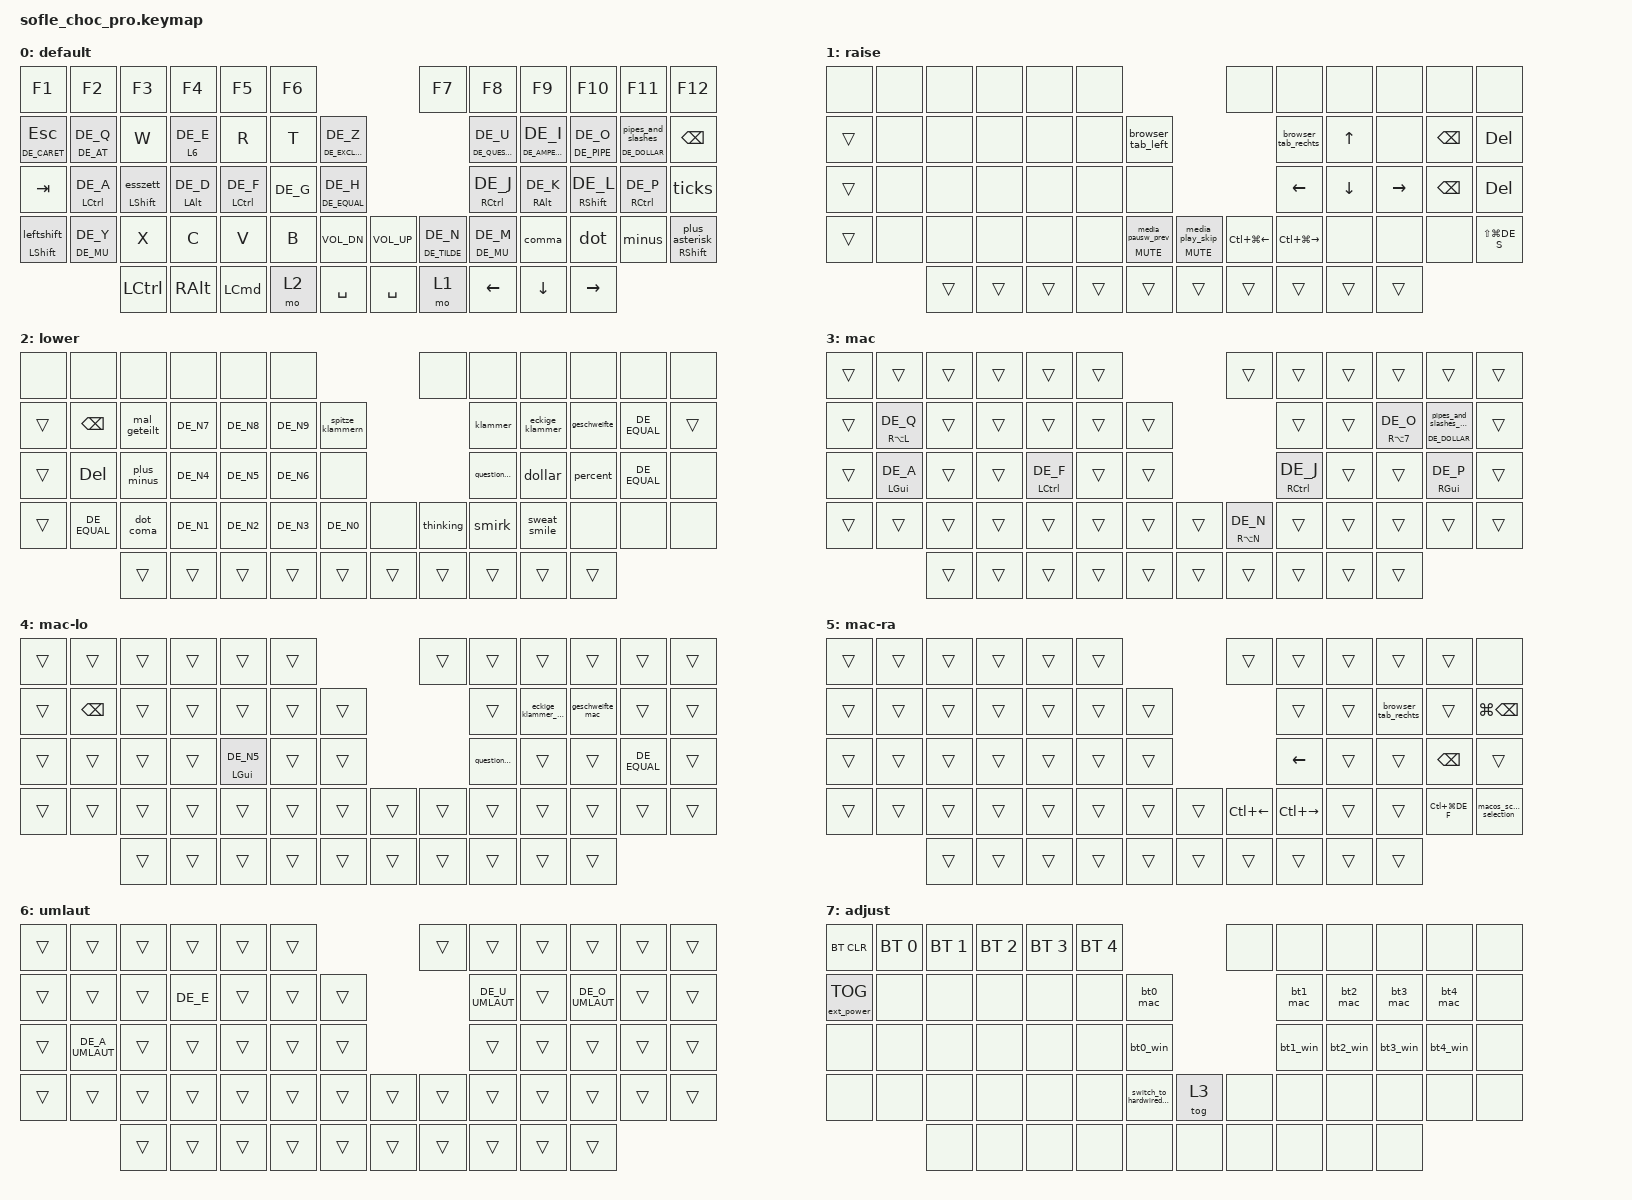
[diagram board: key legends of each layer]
/*
* Copyright (c) 2020 The ZMK Contributors
*
* SPDX-License-Identifier: MIT
*/

#include "keys_de.h"
#include <behaviors.dtsi>
#include <dt-bindings/zmk/bt.h>
#include <dt-bindings/zmk/ext_power.h>
#include <dt-bindings/zmk/keys.h>
#include <dt-bindings/zmk/outputs.h>

#define BASE 0
#define LOWER 1
#define RAISE 2
#define ADJUST 3
#define MAC 4
#define MAC_LOWER 5
#define MAC_RAISE 6

/ {
    // Activate ADJUST layer by pressing raise and lower

    conditional_layers {
        compatible = "zmk,conditional-layers";

        adjust_layer {
            if-layers = <2 1>;
            then-layer = <7>;
        };

        mac_lower_layer {
            if-layers = <3 2>;
            then-layer = <4>;
        };

        mac_raise_layer {
            if-layers = <3 1>;
            then-layer = <5>;
        };
    };

    combos {
        compatible = "zmk,combos";

        double_thumb_enter {
            bindings = <&kp ENTER>;
            key-positions = <54 55>;
            timeout-ms = <300>;
        };

        bottom_right_enter {
            bindings = <&kp ESCAPE>;
            key-positions = <49 48>;
            timeout-ms = <300>;
        };

        left_enter {
            bindings = <&kp ENTER>;
            key-positions = <54 53>;
            timeout-ms = <300>;
        };

        up {
            bindings = <&kp UP>;
            key-positions = <58 57>;
        };

        arrow_enter {
            bindings = <&kp ENTER>;
            key-positions = <58 57 59>;
            require-prior-idle-ms = <300>;
        };

        up3 {
            bindings = <&kp UP>;
            key-positions = <58 59>;
        };

        alt_f4 {
            bindings = <&kp LA(F4)>;
            key-positions = <18 19 20>;
            layers = <0>;
        };

        command_q {
            bindings = <&kp LG(DE_Q)>;
            key-positions = <18 19 20>;
            layers = <3>;
        };

        alt_f4_2 {
            bindings = <&kp LA(F4)>;
            key-positions = <17 16 15>;
            layers = <0>;
        };

        command_q_2 {
            bindings = <&kp LG(DE_Q)>;
            key-positions = <17 16 15>;
            layers = <3>;
        };

        shift_index_fingers {
            bindings = <&sk LEFT_SHIFT>;
            key-positions = <28 31>;
            layers = <0 3>;
        };

        gentle_smile {
            bindings = <&gentle_smile>;
            key-positions = <12 13>;
        };
    };

    behaviors {
        hold_tap: hold_tap {
            compatible = "zmk,behavior-hold-tap";
            label = "HOLD_TAP";
            bindings = <&kp>, <&kp>;

            #binding-cells = <2>;
            tapping-term-ms = <250>;
            flavor = "balanced";
            quick-tap-ms = <150>;
        };

        comma: comma {
            compatible = "zmk,behavior-tap-dance";
            label = "COMMA";
            #binding-cells = <0>;
            bindings = <&kp DE_COMMA>, <&kp DE_SEMI>;

            tapping-term-ms = <300>;
        };

        dot: dot {
            compatible = "zmk,behavior-tap-dance";
            label = "DOT";
            #binding-cells = <0>;
            bindings = <&kp DE_DOT>, <&kp DE_COLON>, <&tripple_dot>;

            tapping-term-ms = <300>;
        };

        minus: minus {
            compatible = "zmk,behavior-tap-dance";
            label = "MINUS";
            #binding-cells = <0>;
            bindings = <&kp DE_MINUS>, <&kp DE_UNDERSCORE>;

            tapping-term-ms = <300>;
        };

        ticks: ticks {
            compatible = "zmk,behavior-tap-dance";
            label = "TICKS";
            #binding-cells = <0>;
            bindings =
                <&kp DE_APOSTROPHE>,
                <&kp DE_DOUBLE_QUOTES>,
                <&kp DE_GRAVE>;

            tapping-term-ms = <300>;
        };

        esszett: esszett {
            compatible = "zmk,behavior-tap-dance";
            label = "ESSZETT";
            #binding-cells = <0>;
            bindings = <&kp DE_S>, <&doppel_s>, <&kp DE_SZ>;

            tapping-term-ms = <300>;
        };

        mal_geteilt: mal_geteilt {
            compatible = "zmk,behavior-tap-dance";
            label = "MAL_GETEILT";
            #binding-cells = <0>;
            bindings = <&kp DE_ASTERISK>, <&kp DE_SLASH>;
        };

        hold_and_esszett: hold_and_esszett {
            compatible = "zmk,behavior-hold-tap";
            label = "HOLD_AND_ESSZETT";
            bindings = <&kp>, <&esszett>;

            #binding-cells = <2>;
            tapping-term-ms = <200>;
            require-prior-idle-ms = <200>;
            flavor = "balanced";
            quick-tap-ms = <150>;
        };

        pipes_and_slashes: pipes_and_slashes {
            compatible = "zmk,behavior-tap-dance";
            label = "PIPES_AND_SLASHES";
            #binding-cells = <0>;
            bindings = <&kp DE_SLASH>, <&kp DE_BACKSLASH>, <&kp DE_PIPE>;

            tapping-term-ms = <300>;
        };

        hold_and_pipes_and_slashes: hold_and_pipes_and_slashes {
            compatible = "zmk,behavior-hold-tap";
            label = "HOLD_AND_PIPES_AND_SLASHES";
            bindings = <&kp>, <&pipes_and_slashes>;

            #binding-cells = <2>;
            tapping-term-ms = <200>;
            require-prior-idle-ms = <200>;
            flavor = "balanced";
            quick-tap-ms = <150>;
        };

        pipes_and_slashes_mac: pipes_and_slashes_mac {
            compatible = "zmk,behavior-tap-dance";
            label = "PIPES_AND_SLASHES_MAC";
            #binding-cells = <0>;

            // 1x = /   2x = \ (macOS: Opt+Shift+7)   3x = | (macOS: Opt+7)

            bindings = <&kp DE_SLASH>, <&kp LS(LA(N7))>, <&kp LA(N7)>;

            tapping-term-ms = <300>;
        };

        hold_and_pipes_and_slashes_mac: hold_and_pipes_and_slashes_mac {
            compatible = "zmk,behavior-hold-tap";
            label = "HOLD_AND_PIPES_AND_SLASHES_MAC";
            bindings = <&kp>, <&pipes_and_slashes_mac>;

            #binding-cells = <2>;
            tapping-term-ms = <200>;
            require-prior-idle-ms = <200>;
            flavor = "balanced";
            quick-tap-ms = <150>;
        };

        geschweifte_mac: geschweifte_mac {
            compatible = "zmk,behavior-tap-dance";
            label = "GESCHWEIFTE_MAC";
            #binding-cells = <0>;

            // { = Opt+8   } = Opt+9

            bindings = <&kp LA(N8)>, <&kp LA(N9)>;

            tapping-term-ms = <300>;
        };

        eckige_klammer_mac: eckige_klammer_mac {
            compatible = "zmk,behavior-tap-dance";
            label = "ECKIGE_KLAMMER_MAC";
            #binding-cells = <0>;

            // [ = Opt+5   ] = Opt+6

            bindings = <&kp LA(N5)>, <&kp LA(N6)>;

            tapping-term-ms = <300>;
        };

        plus_minus: plus_minus {
            compatible = "zmk,behavior-tap-dance";
            label = "PLUS_MINUS";
            #binding-cells = <0>;
            bindings = <&kp DE_PLUS>, <&kp DE_MINUS>;

            tapping-term-ms = <300>;
        };

        plus_asterisk: plus_asterisk {
            compatible = "zmk,behavior-tap-dance";
            label = "PLUS_ASTERISK";
            #binding-cells = <0>;
            bindings = <&kp DE_PLUS>, <&kp DE_ASTERISK>, <&kp DE_HASH>;

            tapping-term-ms = <300>;
        };

        questionmark: questionmark {
            compatible = "zmk,behavior-tap-dance";
            label = "QUESTIONMARK";
            #binding-cells = <0>;
            bindings = <&kp DE_QUESTION>, <&kp DE_EXCLAMATION>;

            tapping-term-ms = <300>;
        };

        dollar: dollar {
            compatible = "zmk,behavior-tap-dance";
            label = "DOLLAR";
            #binding-cells = <0>;
            bindings = <&kp DE_DOLLAR>, <&kp DE_EURO>, <&kp DE_SECTION>;

            tapping-term-ms = <300>;
        };

        percent: percent {
            compatible = "zmk,behavior-tap-dance";
            label = "PERCENT";
            #binding-cells = <0>;
            bindings = <&kp DE_PERCENT>, <&kp DE_AMPERSAND>;

            tapping-term-ms = <300>;
        };

        klammer: klammer {
            compatible = "zmk,behavior-tap-dance";
            label = "KLAMMER";
            #binding-cells = <0>;
            bindings = <&kp DE_LEFT_PARENTHESIS>, <&kp DE_RIGHT_PARENTHESIS>;

            tapping-term-ms = <300>;
        };

        eckige_klammer: eckige_klammer {
            compatible = "zmk,behavior-tap-dance";
            label = "ECKIGE_KLAMMER";
            #binding-cells = <0>;
            bindings = <&kp DE_LEFT_BRACKET>, <&kp DE_RIGHT_BRACKET>;

            tapping-term-ms = <300>;
        };

        geschweifte: geschweifte {
            compatible = "zmk,behavior-tap-dance";
            label = "GESCHWEIFTE";
            #binding-cells = <0>;
            bindings = <&kp DE_LEFT_BRACE>, <&kp DE_RIGHT_BRACE>;

            tapping-term-ms = <300>;
        };

        spitze_klammern: spitze_klammern {
            compatible = "zmk,behavior-tap-dance";
            label = "SPITZE_KLAMMERN";
            #binding-cells = <0>;
            bindings = <&kp DE_LESS_THAN>, <&kp DE_GREATER_THAN>;

            tapping-term-ms = <300>;
        };

        dot_coma: dot_coma {
            compatible = "zmk,behavior-tap-dance";
            label = "DOT_COMA";
            #binding-cells = <0>;
            bindings = <&kp DE_COMMA>, <&kp DE_DOT>;

            tapping-term-ms = <300>;
        };

        caps_words_manual: caps_words_manual {
            compatible = "zmk,behavior-caps-word";
            label = "CAPS_WORDS_MANUAL";
            #binding-cells = <0>;
            continue-list = <DE_MINUS DE_UNDERSCORE UNDERSCORE BACKSPACE DELETE MINUS UNDER>;
        };

        leftshift: leftshift {
            compatible = "zmk,behavior-tap-dance";
            label = "LEFTSHIFT";
            #binding-cells = <0>;
            bindings = <&sk LEFT_SHIFT>, <&caps_words_manual>;

            tapping-term-ms = <300>;
        };

        hold_and_left_shift: hold_and_left_shift {
            compatible = "zmk,behavior-hold-tap";
            label = "HOLD_AND_LEFT_SHIFT";
            bindings = <&kp>, <&leftshift>;

            #binding-cells = <2>;
            tapping-term-ms = <200>;
            require-prior-idle-ms = <250>;
            flavor = "balanced";
            quick-tap-ms = <150>;
        };

        media_play_skip: media_play_skip {
            compatible = "zmk,behavior-tap-dance";
            label = "MEDIA_PLAY_SKIP";
            #binding-cells = <0>;
            bindings = <&kp C_PLAY_PAUSE>, <&kp C_NEXT>;

            tapping-term-ms = <300>;
        };

        media_pausw_prev: media_pausw_prev {
            compatible = "zmk,behavior-tap-dance";
            label = "MEDIA_PAUSW_PREV";
            #binding-cells = <0>;
            bindings = <&kp C_PLAY_PAUSE>, <&kp C_PREV>;

            tapping-term-ms = <300>;
        };

        macos_screen_selection: macos_screen_selection {
            compatible = "zmk,behavior-tap-dance";
            label = "MACOS_SCREEN_SELECTION";
            #binding-cells = <0>;
            bindings =
                <&kp LG(LS(DE_N4))>,
                <&kp LG(LS(LC(DE_N4)))>,
                <&kp LS(LG(DE_N5))>;

            tapping-term-ms = <300>;
        };

        hold_plus_asterisk: hold_plus_asterisk {
            compatible = "zmk,behavior-hold-tap";
            label = "HOLD_PLUS_ASTERISK";
            bindings = <&kp>, <&plus_asterisk>;

            #binding-cells = <2>;
            tapping-term-ms = <200>;
            require-prior-idle-ms = <250>;
            flavor = "balanced";
            quick-tap-ms = <150>;
        };

        browser_tab_left: browser_tab_left {
            compatible = "zmk,behavior-tap-dance";
            label = "BROWSER_TAB_LEFT";
            #binding-cells = <0>;
            bindings = <&kp LC(LS(TAB))>, <&kp LS(LC(LEFT))>;

            tapping-term-ms = <300>;
        };

        browser_tab_rechts: browser_tab_rechts {
            compatible = "zmk,behavior-tap-dance";
            label = "BROWSER_TAB_RECHTS";
            #binding-cells = <0>;
            bindings = <&kp LC(TAB)>, <&kp LS(LC(RIGHT))>;

            tapping-term-ms = <300>;
        };

        hold_and_media_rechts: hold_and_media_rechts {
            compatible = "zmk,behavior-hold-tap";
            label = "HOLD_AND_MEDIA_RECHTS";
            bindings = <&kp>, <&media_play_skip>;

            #binding-cells = <2>;
            tapping-term-ms = <300>;
        };

        hold_and_media_links: hold_and_media_links {
            compatible = "zmk,behavior-hold-tap";
            label = "HOLD_AND_MEDIA_LINKS";
            bindings = <&kp>, <&media_pausw_prev>;

            #binding-cells = <2>;
            tapping-term-ms = <300>;
        };

        hold_tap_e: hold_tap_e {
            compatible = "zmk,behavior-hold-tap";
            label = "HOLD_TAP_E";
            bindings = <&mo>, <&kp>;

            #binding-cells = <2>;
            tapping-term-ms = <200>;
            flavor = "balanced";
            quick-tap-ms = <150>;
            require-prior-idle-ms = <150>;
        };
    };

    macros {
        doppel_s: doppel_s {
            compatible = "zmk,behavior-macro";
            #binding-cells = <0>;
            bindings = <&kp S &kp S>;
            label = "DOPPEL_S";
        };

        bt0_mac: bt0_mac {
            compatible = "zmk,behavior-macro";
            #binding-cells = <0>;
            bindings = <&bt BT_SEL 0 &to 3 &out OUT_BLE>;
            label = "BT0_MAC";
        };

        bt1_mac: new_macro {
            compatible = "zmk,behavior-macro";
            #binding-cells = <0>;
            bindings = <&bt BT_SEL 1 &to 3 &out OUT_BLE>;
            label = "NEW_MACRO";
        };

        bt2_mac: bt2_mac {
            compatible = "zmk,behavior-macro";
            #binding-cells = <0>;
            bindings = <&bt BT_SEL 2 &to 3 &out OUT_BLE>;
            label = "BT2_MAC";
        };

        bt3_mac: bt3_mac {
            compatible = "zmk,behavior-macro";
            #binding-cells = <0>;
            bindings = <&bt BT_SEL 3 &to 3 &out OUT_BLE>;
            label = "BT3_MAC";
        };

        bt4_mac: bt4_mac {
            compatible = "zmk,behavior-macro";
            #binding-cells = <0>;
            bindings = <&bt BT_SEL 4 &to 3 &out OUT_BLE>;
            label = "BT4_MAC";
        };

        bt0_win: bt0_win {
            compatible = "zmk,behavior-macro";
            #binding-cells = <0>;
            bindings = <&bt BT_SEL 0 &to 0 &out OUT_BLE>;
            label = "BT0_WIN";
        };

        bt1_win: bt1_win {
            compatible = "zmk,behavior-macro";
            #binding-cells = <0>;
            bindings = <&bt BT_SEL 1 &to 0 &out OUT_BLE>;
            label = "BT1_WIN";
        };

        bt2_win: bt2_win {
            compatible = "zmk,behavior-macro";
            #binding-cells = <0>;
            bindings = <&bt BT_SEL 2 &to 0 &out OUT_BLE>;
            label = "BT2_WIN";
        };

        bt3_win: bt3_win {
            compatible = "zmk,behavior-macro";
            #binding-cells = <0>;
            bindings = <&bt BT_SEL 3 &to 0 &out OUT_BLE>;
            label = "BT3_WIN";
        };

        bt4_win: bt4_win {
            compatible = "zmk,behavior-macro";
            #binding-cells = <0>;
            bindings = <&bt BT_SEL 4 &to 0 &out OUT_BLE>;
            label = "BT4_WIN";
        };

        tripple_dot: tripple_dot {
            compatible = "zmk,behavior-macro";
            #binding-cells = <0>;
            bindings = <&kp DOT &kp DOT &kp DOT>;
            label = "TRIPPLE_DOT";
        };

        switch_to_hardwired_windows: switch_to_hardwired_windows {
            compatible = "zmk,behavior-macro";
            #binding-cells = <0>;
            bindings = <&out OUT_USB &to 0>;
            label = "SWITCH_TO_HARDWIRED_WINDOWS";
        };

        gentle_smile: gentle_smile {
            compatible = "zmk,behavior-macro";
            #binding-cells = <0>;
            bindings = <&kp DE_CARET &kp DE_CARET>;
            label = "GENTLE_SMILE";
        };

        sweat_smile: sweat_smile {
            compatible = "zmk,behavior-macro";
            #binding-cells = <0>;
            bindings = <&kp DE_COLON &kp S &kp W &kp E &kp A &kp T &kp DE_UNDERSCORE &kp S &kp M &kp I &kp L &kp E &kp DE_COLON>;
            label = "SWEAT_SMILE";
        };

        thinking: thinking {
            compatible = "zmk,behavior-macro";
            #binding-cells = <0>;
            bindings = <&kp DE_COLON &kp T &kp H &kp I &kp N &kp K &kp I &kp N &kp G &kp DE_COLON>;
            label = "THINKING";
        };

        smirk: smirk {
            compatible = "zmk,behavior-macro";
            #binding-cells = <0>;
            bindings = <&kp DE_COLON &kp S &kp M &kp I &kp R &kp K &kp DE_COLON>;
            label = "SMIRK";
        };
    };

    keymap {
        compatible = "zmk,keymap";

        default_layer {
            display-name = "default";

            // ------------------------------------------------------------------------------------------------------------
            // |   `   |  1  |  2  |  3   |  4   |  5   |                   |  6   |  7    |  8    |  9   |   0   |   `   |
            // |  ESC  |  Q  |  W  |  E   |  R   |  T   |                   |  Y   |  U    |  I    |  O   |   P   | BKSPC |
            // |  TAB  |  A  |  S  |  D   |  F   |  G   |                   |  H   |  J    |  K    |  L   |   ;   |   '   |
            // | SHIFT |  Z  |  X  |  C   |  V   |  B   |  MUTE  |  | PLAY  |  N   |  M    |  ,    |  .   |   /   | SHIFT |
            //               | GUI | ALT  | CTRL | LOWER|  ENTER |  | SPACE | RAISE| CTRL  | ALT   | GUI  |

            bindings = <
&kp F1                        &kp F2                &kp F3                          &kp F4                   &kp F5                       &kp F6                                                 &kp F7                   &kp F8                      &kp F9                       &kp F10                     &kp F11                                  &kp F12
&hold_tap DE_CARET ESC        &hold_tap DE_AT DE_Q  &kp W                           &hold_tap_e 6 DE_E       &kp R                        &kp T     &hold_tap DE_EXCLAMATION DE_Z                                         &hold_tap DE_QUESTION DE_U  &hold_tap DE_AMPERSAND DE_I  &hold_tap DE_PIPE DE_O      &hold_and_pipes_and_slashes DE_DOLLAR 0  &kp BSPC
&kp TAB                       &hold_tap LCTRL DE_A  &hold_and_esszett LEFT_SHIFT 0  &hold_tap LEFT_ALT DE_D  &hold_tap LEFT_CONTROL DE_F  &kp DE_G  &hold_tap DE_EQUAL DE_H                                               &hold_tap RCTRL DE_J        &hold_tap RIGHT_ALT DE_K     &hold_tap RIGHT_SHIFT DE_L  &hold_tap RIGHT_CONTROL DE_P             &ticks
&hold_and_left_shift LSHFT 0  &hold_tap DE_MU DE_Y  &kp X                           &kp C                    &kp V                        &kp B     &kp C_VOL_DN                   &kp C_VOL_UP  &hold_tap DE_TILDE DE_N  &hold_tap DE_MU DE_M        &comma                       &dot                        &minus                                   &hold_plus_asterisk RSHFT 0
                                                    &kp LCTRL                       &kp RIGHT_ALT            &kp LCMD                     &mo 2     &kp SPACE                      &kp SPACE     &mo 1                    &kp LEFT                    &kp DOWN                     &kp RIGHT
            >;
        };

        raise_layer {
            display-name = "raise";

            // ------------------------------------------------------------------------------------------------------------
            // | BTCLR | BT1  | BT2  |  BT3  |  BT4  |  BT5 |                |      |      |       |      |       |       |
            // |       | INS  | PSCR | GUI   |       |      |                | PGUP |      |   ^   |      |       |       |
            // |       | ALT  | CTRL | SHIFT |       | CAPS |                | PGDN |   <- |   v   |  ->  |  DEL  | BKSPC |
            // |       | UNDO | CUT  | COPY  | PASTE |      |      |  |      |      |      |       |      |       |       |
            //                |      |       |       |      |      |  |      |      |      |       |      |

            bindings = <
&none   &none  &none   &none   &none   &none                                                                    &none             &none                &none     &none      &none     &none
&trans  &none  &none   &none   &none   &none   &browser_tab_left                                                                  &browser_tab_rechts  &kp UP    &none      &kp BSPC  &kp DEL
&trans  &none  &none   &none   &none   &none   &none                                                                              &kp LEFT             &kp DOWN  &kp RIGHT  &kp BSPC  &kp DEL
&trans  &none  &none   &none   &none   &none   &hold_and_media_links C_MUTE 0  &hold_and_media_rechts C_MUTE 0  &kp LC(LG(LEFT))  &kp LC(LG(RIGHT))    &none     &none      &none     &kp LS(LG(DE_S))
               &trans  &trans  &trans  &trans  &trans                          &trans                           &trans            &trans               &trans    &trans
            >;
        };

        lower_layer {
            display-name = "lower";

            // ------------------------------------------------------------------------------------------------------------
            // |       |  F1 |  F2 |  F3  |  F4  |  F5  |                   |  F6  |  F7   |  F8   |  F9  |  F10  |  F11  |
            // |   `   |  1  |  2  |  3   |  4   |  5   |                   |  6   |  7    |  8    |  9   |   0   |  F12  |
            // |       |  !  |  @  |  #   |  $   |  %   |                   |  ^   |  &    |  *    |  (   |   )   |   |   |
            // |       |  =  |  -  |  +   |  {   |  }   |        |  |       |  [   |  ]    |  ;    |  :   |   \   |       |
            //               |     |      |      |      |        |  |       |      |       |       |      |

            bindings = <
&none   &none         &none         &none      &none      &none                                &none      &none          &none            &none         &none         &none
&trans  &kp BSPC      &mal_geteilt  &kp DE_N7  &kp DE_N8  &kp DE_N9  &spitze_klammern                     &klammer       &eckige_klammer  &geschweifte  &kp DE_EQUAL  &trans
&trans  &kp DEL       &plus_minus   &kp DE_N4  &kp DE_N5  &kp DE_N6  &none                                &questionmark  &dollar          &percent      &kp DE_EQUAL  &none
&trans  &kp DE_EQUAL  &dot_coma     &kp DE_N1  &kp DE_N2  &kp DE_N3  &kp DE_N0         &none   &thinking  &smirk         &sweat_smile     &none         &none         &none
                      &trans        &trans     &trans     &trans     &trans            &trans  &trans     &trans         &trans           &trans
            >;
        };

        mac_layer {
            // Override keys whose AltGr combos differ between Windows DE and macOS DE.
            // All other positions are &trans (fall through to default_layer).
            //
            // Changed positions:
            //   Q  (row2, col2): hold @ → LA(L)       macOS Opt+L = @
            //   O  (row2, col10): hold | → LA(N7)     macOS Opt+7 = |
            //   ;  (row3, col11): pipes_and_slashes_mac  \ = LS(LA(N7)), | = LA(N7)
            //   N  (row4, col9): hold ~ → LA(N)       macOS Opt+N = ~

            display-name = "mac";
            bindings = <
&trans  &trans                   &trans  &trans  &trans                       &trans                  &trans                &trans                        &trans  &trans                 &trans                                       &trans
&trans  &hold_tap RA(L) DE_Q     &trans  &trans  &trans                       &trans  &trans                                &trans                        &trans  &hold_tap RA(N7) DE_O  &hold_and_pipes_and_slashes_mac DE_DOLLAR 0  &trans
&trans  &hold_tap LEFT_GUI DE_A  &trans  &trans  &hold_tap LEFT_CONTROL DE_F  &trans  &trans                                &hold_tap RIGHT_CONTROL DE_J  &trans  &trans                 &hold_tap RIGHT_GUI DE_P                     &trans
&trans  &trans                   &trans  &trans  &trans                       &trans  &trans  &trans  &hold_tap RA(N) DE_N  &trans                        &trans  &trans                 &trans                                       &trans
                                 &trans  &trans  &trans                       &trans  &trans  &trans  &trans                &trans                        &trans  &trans
            >;
        };

        mac_lower_layer {
            // Active when mac + lower are both held.
            // Restores lower_layer bindings shadowed by mac_layer,
            // and provides mac variants of [ ] { }.

            display-name = "mac-lo";
            bindings = <
&trans  &trans    &trans  &trans  &trans                &trans                  &trans  &trans         &trans               &trans            &trans        &trans
&trans  &kp BSPC  &trans  &trans  &trans                &trans  &trans                  &trans         &eckige_klammer_mac  &geschweifte_mac  &trans        &trans
&trans  &trans    &trans  &trans  &hold_tap LGUI DE_N5  &trans  &trans                  &questionmark  &trans               &trans            &kp DE_EQUAL  &trans
&trans  &trans    &trans  &trans  &trans                &trans  &trans  &trans  &trans  &trans         &trans               &trans            &trans        &trans
                  &trans  &trans  &trans                &trans  &trans  &trans  &trans  &trans         &trans               &trans
            >;
        };

        mac_raise_layer {
            // Active when mac + raise are both held.
            // Restores raise_layer bindings shadowed by mac_layer.

            display-name = "mac-ra";
            bindings = <
&trans  &trans  &trans  &trans  &trans  &trans                  &trans        &trans         &trans  &trans               &trans            &none
&trans  &trans  &trans  &trans  &trans  &trans  &trans                        &trans         &trans  &browser_tab_rechts  &trans            &kp LG(BACKSPACE)
&trans  &trans  &trans  &trans  &trans  &trans  &trans                        &kp LEFT       &trans  &trans               &kp BSPC          &trans
&trans  &trans  &trans  &trans  &trans  &trans  &trans  &trans  &kp LC(LEFT)  &kp LC(RIGHT)  &trans  &trans               &kp LC(LG(DE_F))  &macos_screen_selection
                &trans  &trans  &trans  &trans  &trans  &trans  &trans        &trans         &trans  &trans
            >;
        };

        umlaut {
            bindings = <
&trans  &trans           &trans  &trans    &trans  &trans                  &trans  &trans           &trans  &trans           &trans  &trans
&trans  &trans           &trans  &kp DE_E  &trans  &trans  &trans                  &kp DE_U_UMLAUT  &trans  &kp DE_O_UMLAUT  &trans  &trans
&trans  &kp DE_A_UMLAUT  &trans  &trans    &trans  &trans  &trans                  &trans           &trans  &trans           &trans  &trans
&trans  &trans           &trans  &trans    &trans  &trans  &trans  &trans  &trans  &trans           &trans  &trans           &trans  &trans
                         &trans  &trans    &trans  &trans  &trans  &trans  &trans  &trans           &trans  &trans
            >;
        };

        adjust_layer {
            // ----------------------------------------------------------------------------------------------------------------------------
            // | BTCLR  |  BT1    |  BT2    |   BT3   |   BT4   |   BT5   |                  | MAC  |      |       |      |       |       |
            // | EXTPWR | RGB_HUD | RGB_HUI | RGB_SAD | RGB_SAI | RGB_EFF |                  |      |      |       |      |       |       |
            // |        | RGB_BRD | RGB_BRI |         |         |         |                  |      |      |       |      |       |       |
            // |        |         |         |         |         |         | RGB_TOG | |      |      |      |       |      |       |       |
            //                    |         |         |         |         |         | |      |      |      |       |      |

            display-name = "adjust";
            bindings = <
&bt BT_CLR         &bt BT_SEL 0  &bt BT_SEL 1  &bt BT_SEL 2  &bt BT_SEL 3  &bt BT_SEL 4                                        &none  &none     &none     &none     &none     &none
&ext_power EP_TOG  &none         &none         &none         &none         &none         &bt0_mac                                     &bt1_mac  &bt2_mac  &bt3_mac  &bt4_mac  &none
&none              &none         &none         &none         &none         &none         &bt0_win                                     &bt1_win  &bt2_win  &bt3_win  &bt4_win  &none
&none              &none         &none         &none         &none         &none         &switch_to_hardwired_windows  &tog 3  &none  &none     &none     &none     &none     &none
                                 &none         &none         &none         &none         &none                         &none   &none  &none     &none     &none
            >;
        };
    };
};
